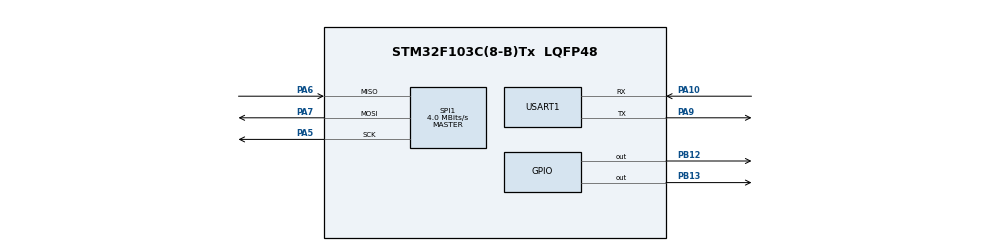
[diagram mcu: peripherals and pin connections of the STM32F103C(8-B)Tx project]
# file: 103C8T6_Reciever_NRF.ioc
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Mcu.Family=STM32F1
Mcu.Name=STM32F103C(8-B)Tx
Mcu.Package=LQFP48
NVIC.PriorityGroup=NVIC_PRIORITYGROUP_4
PA10.Mode=Asynchronous
PA10.Signal=USART1_RX
PA13.Mode=Serial_Wire
PA13.Signal=SYS_JTMS-SWDIO
PA14.Mode=Serial_Wire
PA14.Signal=SYS_JTCK-SWCLK
PA5.Mode=Full_Duplex_Master
PA5.Signal=SPI1_SCK
PA6.Mode=Full_Duplex_Master
PA6.Signal=SPI1_MISO
PA7.Mode=Full_Duplex_Master
PA7.Signal=SPI1_MOSI
PA9.Mode=Asynchronous
PA9.Signal=USART1_TX
PB12.Signal=GPIO_Output
PB13.Signal=GPIO_Output
PC14-OSC32_IN.Mode=LSE-External-Oscillator
PC14-OSC32_IN.Signal=RCC_OSC32_IN
PC15-OSC32_OUT.Mode=LSE-External-Oscillator
PC15-OSC32_OUT.Signal=RCC_OSC32_OUT
PD0-OSC_IN.Mode=HSE-External-Oscillator
PD0-OSC_IN.Signal=RCC_OSC_IN
PD1-OSC_OUT.Mode=HSE-External-Oscillator
PD1-OSC_OUT.Signal=RCC_OSC_OUT
ProjectManager.HeapSize=0x200
ProjectManager.StackSize=0x400
ProjectManager.TargetToolchain=STM32CubeIDE
RCC.APB1Freq_Value=8000000
RCC.APB2Freq_Value=8000000
SPI1.CalculateBaudRate=4.0 MBits/s
SPI1.Direction=SPI_DIRECTION_2LINES
SPI1.Mode=SPI_MODE_MASTER
SPI1.VirtualType=VM_MASTER
USART1.VirtualMode=VM_ASYNC
board=custom

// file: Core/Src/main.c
/* USER CODE BEGIN Header */
/**
 ******************************************************************************
 * @file           : main.c
 * @brief          : Main program body
 ******************************************************************************
 * @attention
 *
 * Copyright (c) 2025 STMicroelectronics.
 * All rights reserved.
 *
 * This software is licensed under terms that can be found in the LICENSE file
 * in the root directory of this software component.
 * If no LICENSE file comes with this software, it is provided AS-IS.
 *
 ******************************************************************************
 */
/* USER CODE END Header */
#include "main.h"

/* USER CODE BEGIN Includes */
#include<string.h>
#include <stdio.h>
/* USER CODE END Includes */

/* USER CODE BEGIN PTD */
#define CSN_LOW()   HAL_GPIO_WritePin(GPIOB, GPIO_PIN_12, GPIO_PIN_RESET)
#define CSN_HIGH()  HAL_GPIO_WritePin(GPIOB, GPIO_PIN_12, GPIO_PIN_SET)
#define CE_LOW()    HAL_GPIO_WritePin(GPIOB, GPIO_PIN_13, GPIO_PIN_RESET)
#define CE_HIGH()   HAL_GPIO_WritePin(GPIOB, GPIO_PIN_13, GPIO_PIN_SET)

/******** NRF COMMANDS *********/
#define R_REGISTER    0x00
#define W_REGISTER    0x20
/* USER CODE END PTD */

SPI_HandleTypeDef hspi1;

UART_HandleTypeDef huart1;

/* USER CODE BEGIN PV */
uint8_t rx_byte;
/* USER CODE END PV */

void SystemClock_Config(void);
static void MX_GPIO_Init(void);
static void MX_SPI1_Init(void);
static void MX_USART1_UART_Init(void);
/* USER CODE BEGIN PFP */
uint8_t nrf_read(uint8_t reg);
void nrf_write(uint8_t reg, uint8_t value);
/* USER CODE END PFP */

int main(void) {

	/* MCU Configuration--------------------------------------------------------*/

	/* Reset of all peripherals, Initializes the Flash interface and the Systick. */
	HAL_Init();

	/* Configure the system clock */
	SystemClock_Config();

	/* Initialize all configured peripherals */
	MX_GPIO_Init();
	MX_SPI1_Init();
	MX_USART1_UART_Init();
	/* USER CODE BEGIN 2 */
	char msg[64];

	sprintf(msg, "\r\n--- NRF24 SINGLE MODULE SELF-TEST ---\r\n");
	HAL_UART_Transmit(&huart1, (uint8_t*) msg, strlen(msg), 100);

	// ================================
	// TEST 1: READ DEFAULT REGISTERS
	// ================================
	uint8_t config = nrf_read(0x00);   // CONFIG register
	uint8_t rf_setup = nrf_read(0x06); // RF_SETUP
	uint8_t status = nrf_read(0x07);   // STATUS

	sprintf(msg, "CONFIG  = 0x%02X\r\n", config);
	HAL_UART_Transmit(&huart1, (uint8_t*) msg, strlen(msg), 100);

	sprintf(msg, "RF_SETUP = 0x%02X\r\n", rf_setup);
	HAL_UART_Transmit(&huart1, (uint8_t*) msg, strlen(msg), 100);

	sprintf(msg, "STATUS  = 0x%02X\r\n", status);
	HAL_UART_Transmit(&huart1, (uint8_t*) msg, strlen(msg), 100);

	// ================================
	// TEST 2: WRITE + READ BACK CHECK
	// ================================
	nrf_write(0x01, 0x3F); // EN_AA = 0x3F
	uint8_t check = nrf_read(0x01);

	if (check == 0x3F)
		sprintf(msg, "WRITE TEST PASSED (0x3F)\r\n");
	else
		sprintf(msg, "WRITE TEST FAILED! Read=0x%02X\r\n", check);

	HAL_UART_Transmit(&huart1, (uint8_t*) msg, strlen(msg), 100);

	// ================================
	// TEST 3: SET TX MODE
	// ================================
	nrf_write(0x00, 0x0A);  // CONFIG: PWR_UP + PTX
	HAL_Delay(5);

	uint8_t cfg2 = nrf_read(0x00);

	sprintf(msg, "TX MODE CONFIG = 0x%02X\r\n", cfg2);
	HAL_UART_Transmit(&huart1, (uint8_t*) msg, strlen(msg), 100);

	sprintf(msg, "\r\nIf all above values look correct → NRF IS WORKING\r\n");
	HAL_UART_Transmit(&huart1, (uint8_t*) msg, strlen(msg), 100);

	/* USER CODE END 2 */

	/* Infinite loop */
	while (1) {

		/* USER CODE BEGIN 3 */
		HAL_Delay(500);
	}

	/* USER CODE END 3 */
}

void SystemClock_Config(void) {
	RCC_OscInitTypeDef RCC_OscInitStruct = { 0 };
	RCC_ClkInitTypeDef RCC_ClkInitStruct = { 0 };

	/** Initializes the RCC Oscillators according to the specified parameters
	 * in the RCC_OscInitTypeDef structure.
	 */
	RCC_OscInitStruct.OscillatorType = RCC_OSCILLATORTYPE_HSI;
	RCC_OscInitStruct.HSIState = RCC_HSI_ON;
	RCC_OscInitStruct.HSICalibrationValue = RCC_HSICALIBRATION_DEFAULT;
	RCC_OscInitStruct.PLL.PLLState = RCC_PLL_NONE;
	if (HAL_RCC_OscConfig(&RCC_OscInitStruct) != HAL_OK) {
		Error_Handler();
	}

	/** Initializes the CPU, AHB and APB buses clocks
	 */
	RCC_ClkInitStruct.ClockType = RCC_CLOCKTYPE_HCLK | RCC_CLOCKTYPE_SYSCLK
			| RCC_CLOCKTYPE_PCLK1 | RCC_CLOCKTYPE_PCLK2;
	RCC_ClkInitStruct.SYSCLKSource = RCC_SYSCLKSOURCE_HSI;
	RCC_ClkInitStruct.AHBCLKDivider = RCC_SYSCLK_DIV1;
	RCC_ClkInitStruct.APB1CLKDivider = RCC_HCLK_DIV1;
	RCC_ClkInitStruct.APB2CLKDivider = RCC_HCLK_DIV1;

	if (HAL_RCC_ClockConfig(&RCC_ClkInitStruct, FLASH_LATENCY_0) != HAL_OK) {
		Error_Handler();
	}
}

static void MX_SPI1_Init(void) {

	/* SPI1 parameter configuration*/
	hspi1.Instance = SPI1;
	hspi1.Init.Mode = SPI_MODE_MASTER;
	hspi1.Init.Direction = SPI_DIRECTION_2LINES;
	hspi1.Init.DataSize = SPI_DATASIZE_8BIT;
	hspi1.Init.CLKPolarity = SPI_POLARITY_LOW;
	hspi1.Init.CLKPhase = SPI_PHASE_1EDGE;
	hspi1.Init.NSS = SPI_NSS_SOFT;
	hspi1.Init.BaudRatePrescaler = SPI_BAUDRATEPRESCALER_2;
	hspi1.Init.FirstBit = SPI_FIRSTBIT_MSB;
	hspi1.Init.TIMode = SPI_TIMODE_DISABLE;
	hspi1.Init.CRCCalculation = SPI_CRCCALCULATION_DISABLE;
	hspi1.Init.CRCPolynomial = 10;
	if (HAL_SPI_Init(&hspi1) != HAL_OK) {
		Error_Handler();
	}

}

static void MX_USART1_UART_Init(void) {

	huart1.Instance = USART1;
	huart1.Init.BaudRate = 115200;
	huart1.Init.WordLength = UART_WORDLENGTH_8B;
	huart1.Init.StopBits = UART_STOPBITS_1;
	huart1.Init.Parity = UART_PARITY_NONE;
	huart1.Init.Mode = UART_MODE_TX_RX;
	huart1.Init.HwFlowCtl = UART_HWCONTROL_NONE;
	huart1.Init.OverSampling = UART_OVERSAMPLING_16;
	if (HAL_UART_Init(&huart1) != HAL_OK) {
		Error_Handler();
	}

}

static void MX_GPIO_Init(void) {
	GPIO_InitTypeDef GPIO_InitStruct = { 0 };

	/* GPIO Ports Clock Enable */
	__HAL_RCC_GPIOC_CLK_ENABLE();
	__HAL_RCC_GPIOD_CLK_ENABLE();
	__HAL_RCC_GPIOA_CLK_ENABLE();
	__HAL_RCC_GPIOB_CLK_ENABLE();

	/*Configure GPIO pin Output Level */
	HAL_GPIO_WritePin(GPIOB, GPIO_PIN_12 | GPIO_PIN_13, GPIO_PIN_RESET);

	/*Configure GPIO pins : PB12 PB13 */
	GPIO_InitStruct.Pin = GPIO_PIN_12 | GPIO_PIN_13;
	GPIO_InitStruct.Mode = GPIO_MODE_OUTPUT_PP;
	GPIO_InitStruct.Pull = GPIO_NOPULL;
	GPIO_InitStruct.Speed = GPIO_SPEED_FREQ_LOW;
	HAL_GPIO_Init(GPIOB, &GPIO_InitStruct);

}

/* USER CODE BEGIN 4 */
uint8_t nrf_read(uint8_t reg)
{
    uint8_t tx = R_REGISTER | reg;
    uint8_t rx = 0;

    CSN_LOW();
    HAL_SPI_Transmit(&hspi1, &tx, 1, 10);
    HAL_SPI_Receive(&hspi1, &rx, 1, 10);
    CSN_HIGH();

    return rx;
}

void nrf_write(uint8_t reg, uint8_t value)
{
    uint8_t tx[2];
    tx[0] = W_REGISTER | reg;
    tx[1] = value;

    CSN_LOW();
    HAL_SPI_Transmit(&hspi1, tx, 2, 10);
    CSN_HIGH();
}
/* USER CODE END 4 */

void Error_Handler(void) {
	__disable_irq();
	while (1) {
	}
}
